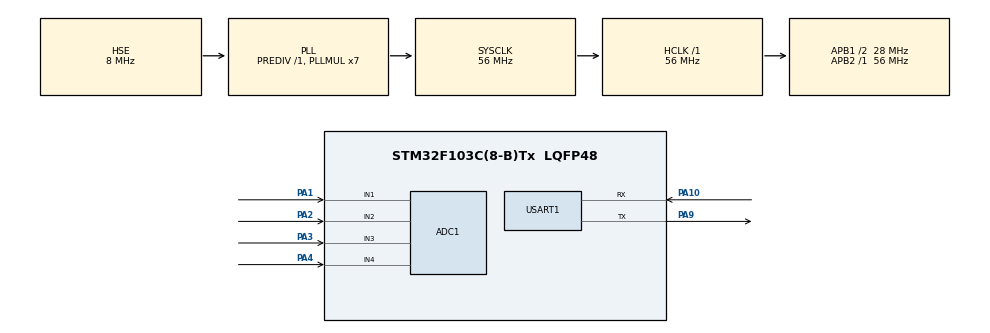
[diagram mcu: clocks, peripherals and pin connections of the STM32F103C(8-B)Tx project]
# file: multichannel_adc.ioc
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ADC1.Channel-0\#ChannelRegularConversion=ADC_CHANNEL_1
ADC1.Channel-1\#ChannelRegularConversion=ADC_CHANNEL_2
ADC1.Channel-2\#ChannelRegularConversion=ADC_CHANNEL_1
ADC1.Channel-3\#ChannelRegularConversion=ADC_CHANNEL_1
ADC1.ContinuousConvMode=ENABLE
ADC1.NbrOfConversion=4
ADC1.NbrOfConversionFlag=1
ADC1.Rank-0\#ChannelRegularConversion=1
ADC1.Rank-1\#ChannelRegularConversion=2
ADC1.Rank-2\#ChannelRegularConversion=3
ADC1.Rank-3\#ChannelRegularConversion=4
ADC1.SamplingTime-0\#ChannelRegularConversion=ADC_SAMPLETIME_71CYCLES_5
ADC1.SamplingTime-1\#ChannelRegularConversion=ADC_SAMPLETIME_71CYCLES_5
ADC1.SamplingTime-2\#ChannelRegularConversion=ADC_SAMPLETIME_71CYCLES_5
ADC1.SamplingTime-3\#ChannelRegularConversion=ADC_SAMPLETIME_71CYCLES_5
ADC1.master=1
Mcu.Family=STM32F1
Mcu.Name=STM32F103C(8-B)Tx
Mcu.Package=LQFP48
NVIC.PriorityGroup=NVIC_PRIORITYGROUP_4
PA1.Signal=ADCx_IN1
PA10.Mode=Asynchronous
PA10.Signal=USART1_RX
PA2.Signal=ADCx_IN2
PA3.Signal=ADCx_IN3
PA4.Signal=ADCx_IN4
PA9.Mode=Asynchronous
PA9.Signal=USART1_TX
PD0-OSC_IN.Mode=HSE-External-Oscillator
PD0-OSC_IN.Signal=RCC_OSC_IN
PD1-OSC_OUT.Mode=HSE-External-Oscillator
PD1-OSC_OUT.Signal=RCC_OSC_OUT
ProjectManager.HeapSize=0x200
ProjectManager.StackSize=0x400
ProjectManager.TargetToolchain=STM32CubeIDE
RCC.ADCPresc=RCC_ADCPCLK2_DIV4
RCC.AHBFreq_Value=56000000
RCC.APB1CLKDivider=RCC_HCLK_DIV2
RCC.APB1Freq_Value=28000000
RCC.APB1TimFreq_Value=56000000
RCC.APB2Freq_Value=56000000
RCC.APB2TimFreq_Value=56000000
RCC.HCLKFreq_Value=56000000
RCC.PLLMUL=RCC_PLL_MUL7
RCC.PLLSourceVirtual=RCC_PLLSOURCE_HSE
RCC.SYSCLKFreq_VALUE=56000000
RCC.SYSCLKSource=RCC_SYSCLKSOURCE_PLLCLK
RCC.USBFreq_Value=56000000
SH.ADCx_IN1.0=ADC1_IN1,IN1
SH.ADCx_IN2.0=ADC1_IN2,IN2
SH.ADCx_IN3.0=ADC1_IN3,IN3
SH.ADCx_IN4.0=ADC1_IN4,IN4
USART1.VirtualMode=VM_ASYNC
board=custom

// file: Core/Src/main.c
/* USER CODE BEGIN Header */
/**
  ******************************************************************************
  * @file           : main.c
  * @brief          : Main program body
  ******************************************************************************
  * @attention
  *
  * Copyright (c) 2023 STMicroelectronics.
  * All rights reserved.
  *
  * This software is licensed under terms that can be found in the LICENSE file
  * in the root directory of this software component.
  * If no LICENSE file comes with this software, it is provided AS-IS.
  *
  ******************************************************************************
  */
/* USER CODE END Header */
#include "main.h"

ADC_HandleTypeDef hadc1;

UART_HandleTypeDef huart1;

/* USER CODE BEGIN PV */
float adc_val[5];
#define txBuff_size 100
char txBuffer[txBuff_size];
float beta_val=4304.05;
float Vin= 5.00;
float Rs=10000.00;
int a;
float R25=32762.00;
/* USER CODE END PV */

void SystemClock_Config(void);
static void MX_GPIO_Init(void);
static void MX_ADC1_Init(void);
static void MX_USART1_UART_Init(void);

/* USER CODE BEGIN 0 */

void ADC_Select_CH1 (void)
{
	ADC_ChannelConfTypeDef sConfig = {0};
	  /** Configure for the selected ADC regular channel its corresponding rank in the sequencer and its sample time.
	  */
	  sConfig.Channel = ADC_CHANNEL_1;
	  sConfig.Rank = ADC_REGULAR_RANK_1;
	  sConfig.SamplingTime = ADC_SAMPLETIME_71CYCLES_5;
	  if (HAL_ADC_ConfigChannel(&hadc1, &sConfig) != HAL_OK)
	  {
	    Error_Handler();
	  }
}

void ADC_Select_CH2 (void)
{
	ADC_ChannelConfTypeDef sConfig = {0};
	  /** Configure for the selected ADC regular channel its corresponding rank in the sequencer and its sample time.
	  */
	  sConfig.Channel = ADC_CHANNEL_2;
	  sConfig.Rank = ADC_REGULAR_RANK_2;
	  if (HAL_ADC_ConfigChannel(&hadc1, &sConfig) != HAL_OK)
	  {
	    Error_Handler();
	  }
}

void ADC_Select_CH3 (void)
{
	ADC_ChannelConfTypeDef sConfig = {0};
	  /** Configure for the selected ADC regular channel its corresponding rank in the sequencer and its sample time.
	  */
	  sConfig.Channel = ADC_CHANNEL_1;
	  sConfig.Rank = ADC_REGULAR_RANK_3;
	  if (HAL_ADC_ConfigChannel(&hadc1, &sConfig) != HAL_OK)
	  {
	    Error_Handler();
	  }
}

void ADC_Select_CH4 (void)
{
	ADC_ChannelConfTypeDef sConfig = {0};
	  /** Configure for the selected ADC regular channel its corresponding rank in the sequencer and its sample time.
	  */
	  sConfig.Rank = ADC_REGULAR_RANK_4;
	  if (HAL_ADC_ConfigChannel(&hadc1, &sConfig) != HAL_OK)
	  {
	    Error_Handler();
	  }
}

void getTemperature(float *adc_val)
{
	  float Vout = (*adc_val) * (Vin/4095.00); //4095 = 12 bit resolution
	  float Rt = (Vout * Rs) / (Vin - Vout);
	  float temperature = (1/((1/298.15)+(log(Rt/R25)/beta_val))-275.5);
	  int number=(int)(temperature + 0.5);
	  sprintf(txBuffer,"T:%d\n",number);
	  HAL_Delay(50);
	  HAL_UART_Transmit(&huart1, (uint8_t*)txBuffer,  strlen(txBuffer), 500);
}

/* USER CODE END 0 */

int main(void)
{

  /* MCU Configuration--------------------------------------------------------*/

  /* Reset of all peripherals, Initializes the Flash interface and the Systick. */
  HAL_Init();

  /* Configure the system clock */
  SystemClock_Config();

  /* Initialize all configured peripherals */
  MX_GPIO_Init();
  MX_ADC1_Init();
  MX_USART1_UART_Init();
  /* USER CODE BEGIN 2 */
  HAL_StatusTypeDef ret;
	ret = HAL_ADCEx_Calibration_Start(&hadc1);
	if(ret != HAL_OK)
	{
		return -1;
	}

	HAL_Delay(10);
  /* USER CODE END 2 */

  /* Infinite loop */
  while (1)
  {

    /* USER CODE BEGIN 3 */
	  //Temperature Sensor 1
	  ADC_Select_CH1();
	  ret = HAL_ADC_Start(&hadc1);
	  	if(ret != HAL_OK)
	  	{
	  		return -1;
	  	}
	  ret = HAL_ADC_PollForConversion(&hadc1, 50);
	  	if(ret != HAL_OK)
	  	{
	  		return -1;
	  	}
	  adc_val[0] = HAL_ADC_GetValue(&hadc1); // get the adc value
//	  HAL_ADC_Stop(&hadc1);
	  HAL_Delay(100);
	  sprintf(txBuffer,"\nCH1");
	  HAL_Delay(50);
	  HAL_UART_Transmit(&huart1, (uint8_t*)txBuffer,  strlen(txBuffer), 500);
	  getTemperature(&adc_val[0]);

	  //Temperature Sensor 2
	  ADC_Select_CH2();
	  ret = HAL_ADC_Start(&hadc1);
	  	if(ret != HAL_OK)
	  	{
	  		return -1;
	  	}
	  ret = HAL_ADC_PollForConversion(&hadc1, 50);
	  	if(ret != HAL_OK)
	  	{
	  		return -1;
	  	}
	  adc_val[1] = HAL_ADC_GetValue(&hadc1); // get the adc value
//	  HAL_ADC_Stop(&hadc1);
	  HAL_Delay(100);
	  sprintf(txBuffer,"\nCH2");
	  HAL_Delay(50);
	  HAL_UART_Transmit(&huart1, (uint8_t*)txBuffer,  strlen(txBuffer), 500);
	  getTemperature(&adc_val[1]);

	  //Temperature Sensor 3
	  ADC_Select_CH3();
	  ret = HAL_ADC_Start(&hadc1);
	  	if(ret != HAL_OK)
	  	{
	  		return -1;
	  	}
	  ret = HAL_ADC_PollForConversion(&hadc1, 50);
	  	if(ret != HAL_OK)
	  	{
	  		return -1;
	  	}
	  adc_val[2] = HAL_ADC_GetValue(&hadc1); // get the adc value
//	  HAL_ADC_Stop(&hadc1);
	  HAL_Delay(100);
	  sprintf(txBuffer,"\nCH3");
	  HAL_Delay(50);
	  HAL_UART_Transmit(&huart1, (uint8_t*)txBuffer,  strlen(txBuffer), 500);
	  getTemperature(&adc_val[2]);

	  //Temperature Sensor 4
	  ADC_Select_CH4();
	  ret = HAL_ADC_Start(&hadc1);
	  	if(ret != HAL_OK)
	  	{
	  		return -1;
	  	}
	  ret = HAL_ADC_PollForConversion(&hadc1, 50);
	  	if(ret != HAL_OK)
	  	{
	  		return -1;
	  	}
	  adc_val[3] = HAL_ADC_GetValue(&hadc1); // get the adc value
//	  HAL_ADC_Stop(&hadc1);
	  HAL_Delay(100);
	  sprintf(txBuffer,"\nCH4");
	  HAL_Delay(50);
	  HAL_UART_Transmit(&huart1, (uint8_t*)txBuffer,  strlen(txBuffer), 500);
	  getTemperature(&adc_val[3]);

	  HAL_GPIO_TogglePin(GPIOC, GPIO_PIN_13);
	  HAL_Delay(50);

	  a++;

  }
  /* USER CODE END 3 */
}

void SystemClock_Config(void)
{
  RCC_OscInitTypeDef RCC_OscInitStruct = {0};
  RCC_ClkInitTypeDef RCC_ClkInitStruct = {0};
  RCC_PeriphCLKInitTypeDef PeriphClkInit = {0};

  /** Initializes the RCC Oscillators according to the specified parameters
  * in the RCC_OscInitTypeDef structure.
  */
  RCC_OscInitStruct.OscillatorType = RCC_OSCILLATORTYPE_HSE;
  RCC_OscInitStruct.HSEState = RCC_HSE_ON;
  RCC_OscInitStruct.HSEPredivValue = RCC_HSE_PREDIV_DIV1;
  RCC_OscInitStruct.HSIState = RCC_HSI_ON;
  RCC_OscInitStruct.PLL.PLLState = RCC_PLL_ON;
  RCC_OscInitStruct.PLL.PLLSource = RCC_PLLSOURCE_HSE;
  RCC_OscInitStruct.PLL.PLLMUL = RCC_PLL_MUL7;
  if (HAL_RCC_OscConfig(&RCC_OscInitStruct) != HAL_OK)
  {
    Error_Handler();
  }

  /** Initializes the CPU, AHB and APB buses clocks
  */
  RCC_ClkInitStruct.ClockType = RCC_CLOCKTYPE_HCLK|RCC_CLOCKTYPE_SYSCLK
                              |RCC_CLOCKTYPE_PCLK1|RCC_CLOCKTYPE_PCLK2;
  RCC_ClkInitStruct.SYSCLKSource = RCC_SYSCLKSOURCE_PLLCLK;
  RCC_ClkInitStruct.AHBCLKDivider = RCC_SYSCLK_DIV1;
  RCC_ClkInitStruct.APB1CLKDivider = RCC_HCLK_DIV2;
  RCC_ClkInitStruct.APB2CLKDivider = RCC_HCLK_DIV1;

  if (HAL_RCC_ClockConfig(&RCC_ClkInitStruct, FLASH_LATENCY_2) != HAL_OK)
  {
    Error_Handler();
  }
  PeriphClkInit.PeriphClockSelection = RCC_PERIPHCLK_ADC;
  PeriphClkInit.AdcClockSelection = RCC_ADCPCLK2_DIV4;
  if (HAL_RCCEx_PeriphCLKConfig(&PeriphClkInit) != HAL_OK)
  {
    Error_Handler();
  }
}

static void MX_ADC1_Init(void)
{

  ADC_ChannelConfTypeDef sConfig = {0};

  /** Common config
  */
  hadc1.Instance = ADC1;
  hadc1.Init.ScanConvMode = ADC_SCAN_ENABLE;
  hadc1.Init.ContinuousConvMode = ENABLE;
  hadc1.Init.DiscontinuousConvMode = DISABLE;
  hadc1.Init.ExternalTrigConv = ADC_SOFTWARE_START;
  hadc1.Init.DataAlign = ADC_DATAALIGN_RIGHT;
  hadc1.Init.NbrOfConversion = 4;
  if (HAL_ADC_Init(&hadc1) != HAL_OK)
  {
    Error_Handler();
  }

  /** Configure Regular Channel
  */
  sConfig.Channel = ADC_CHANNEL_1;
  sConfig.Rank = ADC_REGULAR_RANK_1;
  sConfig.SamplingTime = ADC_SAMPLETIME_71CYCLES_5;
  if (HAL_ADC_ConfigChannel(&hadc1, &sConfig) != HAL_OK)
  {
    Error_Handler();
  }

  /** Configure Regular Channel
  */
  sConfig.Channel = ADC_CHANNEL_2;
  sConfig.Rank = ADC_REGULAR_RANK_2;
  if (HAL_ADC_ConfigChannel(&hadc1, &sConfig) != HAL_OK)
  {
    Error_Handler();
  }

  /** Configure Regular Channel
  */
  sConfig.Channel = ADC_CHANNEL_1;
  sConfig.Rank = ADC_REGULAR_RANK_3;
  if (HAL_ADC_ConfigChannel(&hadc1, &sConfig) != HAL_OK)
  {
    Error_Handler();
  }

  /** Configure Regular Channel
  */
  sConfig.Rank = ADC_REGULAR_RANK_4;
  if (HAL_ADC_ConfigChannel(&hadc1, &sConfig) != HAL_OK)
  {
    Error_Handler();
  }

}

static void MX_USART1_UART_Init(void)
{

  huart1.Instance = USART1;
  huart1.Init.BaudRate = 115200;
  huart1.Init.WordLength = UART_WORDLENGTH_8B;
  huart1.Init.StopBits = UART_STOPBITS_1;
  huart1.Init.Parity = UART_PARITY_NONE;
  huart1.Init.Mode = UART_MODE_TX_RX;
  huart1.Init.HwFlowCtl = UART_HWCONTROL_NONE;
  huart1.Init.OverSampling = UART_OVERSAMPLING_16;
  if (HAL_UART_Init(&huart1) != HAL_OK)
  {
    Error_Handler();
  }

}

static void MX_GPIO_Init(void)
{

  /* GPIO Ports Clock Enable */
  __HAL_RCC_GPIOD_CLK_ENABLE();
  __HAL_RCC_GPIOA_CLK_ENABLE();

}

void Error_Handler(void)
{
  __disable_irq();
  while (1)
  {
  }
}
